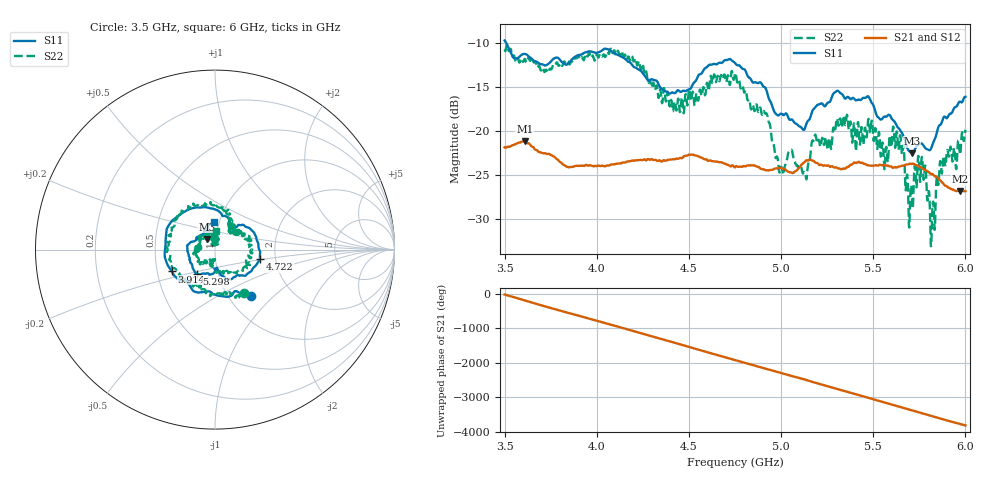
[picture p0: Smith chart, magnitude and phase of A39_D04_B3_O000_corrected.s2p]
! Created with skrf 1.9.0 (http://scikit-rf.org).
# Hz S RI R 50.0
!freq ReS11 ImS11 ReS21 ImS21 ReS12 ImS12 ReS22 ImS22
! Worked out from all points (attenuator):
!   1601 points, 3.5 GHz to 6 GHz, reference 50 ohm
!   highest |S21| = -21.20 dB at 3.609 GHz (marker M1); lowest = -26.9 dB at 5.973 GHz (marker M2)
!   lowest |S11| = -22.5 dB at 5.711 GHz (marker M3), VSWR 1.16, Z = 45.3 + j5.33 ohm
!   |S11| at or under -10 dB: 3.508 GHz to end of sweep
!   |S22| runs from -33.1 to -10.3 dB; largest |S21 - S12| = 0.0011
!   S11 on the Smith chart (normalised r, x): 3.5 GHz: 1.26, -0.73; 3.914 GHz: 0.60, -0.16; 4.722 GHz: 1.65, -0.19; 5.298 GHz: 0.79, -0.22; 6 GHz: 0.94, +0.30
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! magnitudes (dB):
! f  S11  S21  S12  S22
! 3.5 GHz  -9.7  -21.9  -21.8  -10.8
! 3.609 GHz  -11.3  -21.2  -21.2  -11.8
! 3.914 GHz  -11.4  -24.0  -23.9  -11.8
! 3.917 GHz  -11.3  -24.0  -23.9  -11.7
! 4.142 GHz  -11.7  -23.6  -23.6  -11.5
! 4.334 GHz  -14.7  -23.4  -23.3  -16.3
! 4.722 GHz  -11.9  -24.0  -23.9  -14.8
! 4.75 GHz  -12.3  -24.1  -24.0  -13.5
! 4.919 GHz  -15.3  -24.5  -24.4  -18.0
! 5.002 GHz  -18.1  -24.2  -24.2  -24.1
! 5.13 GHz  -19.7  -23.5  -23.5  -24.8
! 5.167 GHz  -17.9  -23.4  -23.3  -21.3
! 5.298 GHz  -15.5  -24.1  -24.1  -19.0
! 5.584 GHz  -18.2  -24.0  -23.9  -21.9
! 5.655 GHz  -20.2  -24.0  -23.9  -22.5
! 5.686 GHz  -22.0  -23.8  -23.8  -25.4
! 5.711 GHz  -22.5  -23.7  -23.6  -27.8
! 5.773 GHz  -21.7  -24.3  -24.3  -25.6
! 5.823 GHz  -21.4  -24.9  -24.9  -28.1
! 5.872 GHz  -19.0  -25.8  -25.7  -24.8
! 5.973 GHz  -16.7  -26.9  -26.8  -22.5
! 6 GHz  -16.1  -26.8  -26.7  -19.9
